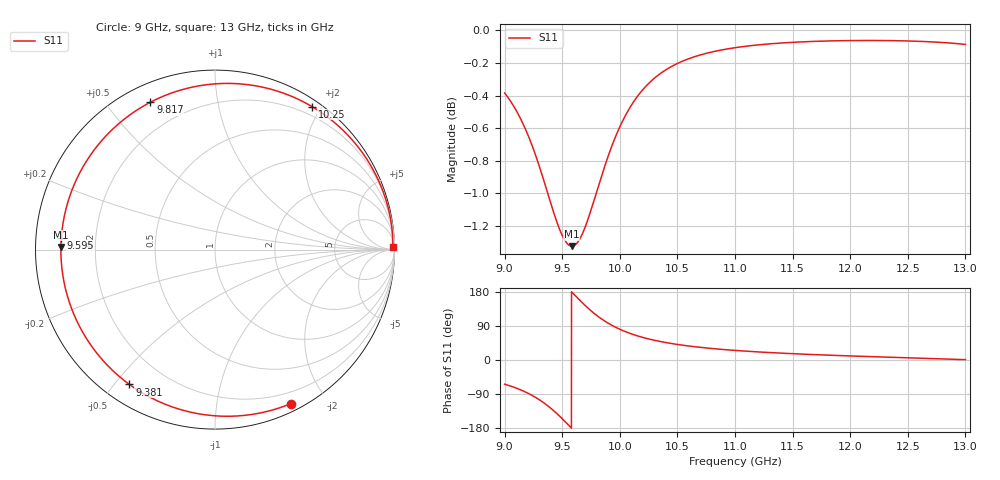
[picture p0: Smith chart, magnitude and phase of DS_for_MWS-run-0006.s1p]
! TOUCHSTONE file generated by CST DESIGN STUDIO
! Date and time: Tue Feb  4 16:07:17 2025
! Project name: C:\Work\MatlabApps\UnitCellOptimizationMatlab\CST\unitcell.cst
! Tree item: Tasks\Sweep1\SPara1\S-Parameters
! Header version: 2024
! Port assignment regex: !\s*Touchstone port\s*([0-9]+)\s*=\s*(CST MWS port|CST DES external port|CST DES block port)\s*(.+)\s* \(\"(.*)\"\)(\s*mode\s*([0-9]+))?.*
! Touchstone port assignment:
! Touchstone port 1 = CST DES external port 1 ("")
# GHz S MA R 50
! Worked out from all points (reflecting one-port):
!   4001 points, 9 GHz to 13 GHz, reference 50 ohm
!   lowest |S11| = -1.3 dB at 9.584 GHz (marker M1), VSWR 13.16, Z = 3.8 + j0.415 ohm
!   phase of S11 starts at -64 deg and turns -295 deg over the sweep
!   S11 on the Smith chart (normalised r, x): 9 GHz: 0.08, -1.60; 9.381 GHz: 0.08, -0.55; 9.595 GHz: 0.08, +0.04; 9.817 GHz: 0.08, +0.65; 10.25 GHz: 0.09, +1.88; 13 GHz: open
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9  0.9567 -63.8
9.045  0.9519 -68.1
9.113  0.9433 -75.6
9.23  0.9236 -92.0
9.31  0.9065 -106.6
9.381  0.8898 -122.4
9.439  0.8765 -137.3
9.5  0.8653 -154.9
9.543  0.8604 -168.1
9.584  0.8587 179.0
9.595  0.8588 175.6
9.651  0.8629 158.1
9.713  0.873 139.9
9.765  0.8843 126.1
9.817  0.8965 113.7
9.857  0.9058 105.2
9.9  0.9153 96.9
10  0.9341 81.1
10.117  0.9504 67.2
10.247  0.9629 55.8
10.365  0.9706 48.0
10.5  0.9768 41.1
10.721  0.9832 32.7
11  0.9877 25.3
11.5  0.9915 16.6
12  0.9927 10.7
12.5  0.9924 5.8
13  0.99 0.9
